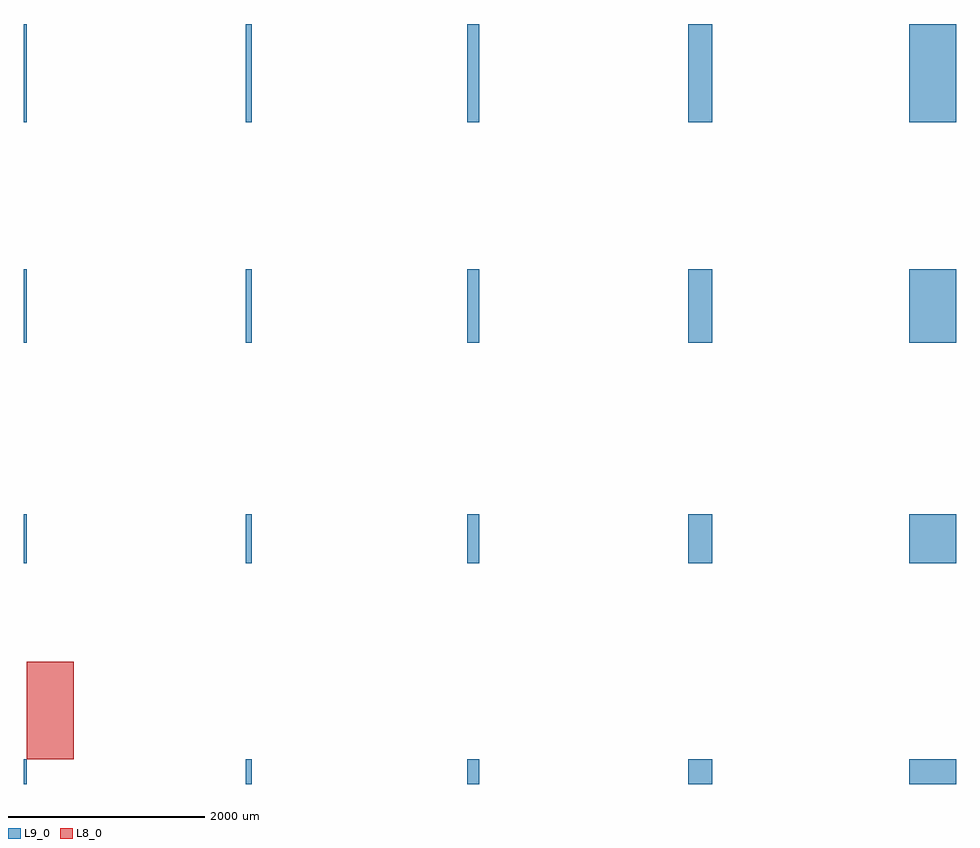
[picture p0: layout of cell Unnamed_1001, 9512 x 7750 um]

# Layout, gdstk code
import gdstk
lib = gdstk.Library(unit=1e-6, precision=1e-09)
def R(c, l, rs):  # rectangles x0, y0, x1, y1
    for r in rs: c.add(gdstk.rectangle(r[:2], r[2:], *l))
L8_0 = (8, 0)
L9_0 = (9, 0)

rectangle_s482_250_l9_0_ = lib.new_cell('rectangle_S482_250_L9_0_4f413a00')
R(rectangle_s482_250_l9_0_, L9_0, [(0,0,482,250)])

rectangle_s482_500_l9_0_ = lib.new_cell('rectangle_S482_500_L9_0_1a437853')
R(rectangle_s482_500_l9_0_, L9_0, [(0,0,482,500)])

rectangle_s62_250_l9_0__ = lib.new_cell('rectangle_S62_250_L9_0__b934522f')
R(rectangle_s62_250_l9_0__, L9_0, [(0,0,62,250)])

rectangle_s30_498_l8_0__ = lib.new_cell('rectangle_S30_498_L8_0__8be0d384')
R(rectangle_s30_498_l8_0__, L8_0, [(0,0,30,498)])

rectangle_s122_250_l9_0_ = lib.new_cell('rectangle_S122_250_L9_0_925dc8c7')
R(rectangle_s122_250_l9_0_, L9_0, [(0,0,122,250)])

rectangle_s30_496_l8_0__ = lib.new_cell('rectangle_S30_496_L8_0__2dacb0b5')
R(rectangle_s30_496_l8_0__, L8_0, [(0,0,30,496)])

rectangle_s30_492_l8_0__ = lib.new_cell('rectangle_S30_492_L8_0__69f82033')
R(rectangle_s30_492_l8_0__, L8_0, [(0,0,30,492)])

rectangle_s30_246_l8_0__ = lib.new_cell('rectangle_S30_246_L8_0__4ac8022f')
R(rectangle_s30_246_l8_0__, L8_0, [(0,0,30,246)])

rectangle_s62_1000_l9_0_ = lib.new_cell('rectangle_S62_1000_L9_0_8d7e5a74')
R(rectangle_s62_1000_l9_0_, L9_0, [(0,0,62,1000)])

rectangle_s30_998_l8_0__ = lib.new_cell('rectangle_S30_998_L8_0__dc77364f')
R(rectangle_s30_998_l8_0__, L8_0, [(0,0,30,998)])

rectangle_s242_250_l9_0_ = lib.new_cell('rectangle_S242_250_L9_0_62d8f9fe')
R(rectangle_s242_250_l9_0_, L9_0, [(0,0,242,250)])

rectangle_s30_746_l8_0__ = lib.new_cell('rectangle_S30_746_L8_0__16932186')
R(rectangle_s30_746_l8_0__, L8_0, [(0,0,30,746)])

rectangle_s30_742_l8_0__ = lib.new_cell('rectangle_S30_742_L8_0__b1090c77')
R(rectangle_s30_742_l8_0__, L8_0, [(0,0,30,742)])

rectangle_s30_248_l8_0__ = lib.new_cell('rectangle_S30_248_L8_0__6b0140fd')
R(rectangle_s30_248_l8_0__, L8_0, [(0,0,30,248)])

rectangle_s32_500_l9_0__ = lib.new_cell('rectangle_S32_500_L9_0__03d4ae10')
R(rectangle_s32_500_l9_0__, L9_0, [(0,0,32,500)])

rectangle_s122_500_l9_0_ = lib.new_cell('rectangle_S122_500_L9_0_ffbf6d70')
R(rectangle_s122_500_l9_0_, L9_0, [(0,0,122,500)])

rectangle_s30_734_l8_0__ = lib.new_cell('rectangle_S30_734_L8_0__5d0be103')
R(rectangle_s30_734_l8_0__, L8_0, [(0,0,30,734)])

rectangle_s30_484_l8_0__ = lib.new_cell('rectangle_S30_484_L8_0__f2229886')
R(rectangle_s30_484_l8_0__, L8_0, [(0,0,30,484)])

rectangle_s62_500_l9_0__ = lib.new_cell('rectangle_S62_500_L9_0__e5c27c60')
R(rectangle_s62_500_l9_0__, L9_0, [(0,0,62,500)])

rectangle_s30_996_l8_0__ = lib.new_cell('rectangle_S30_996_L8_0__71fbb211')
R(rectangle_s30_996_l8_0__, L8_0, [(0,0,30,996)])

rectangle_s30_748_l8_0__ = lib.new_cell('rectangle_S30_748_L8_0__2eb9ab58')
R(rectangle_s30_748_l8_0__, L8_0, [(0,0,30,748)])

rectangle_s62_750_l9_0__ = lib.new_cell('rectangle_S62_750_L9_0__490fc4e6')
R(rectangle_s62_750_l9_0__, L9_0, [(0,0,62,750)])

rectangle_s122_750_l9_0_ = lib.new_cell('rectangle_S122_750_L9_0_29948895')
R(rectangle_s122_750_l9_0_, L9_0, [(0,0,122,750)])

rectangle_s32_750_l9_0__ = lib.new_cell('rectangle_S32_750_L9_0__0753b927')
R(rectangle_s32_750_l9_0__, L9_0, [(0,0,32,750)])

rectangle_s30_242_l8_0__ = lib.new_cell('rectangle_S30_242_L8_0__f90f95f6')
R(rectangle_s30_242_l8_0__, L8_0, [(0,0,30,242)])

rectangle_s30_992_l8_0__ = lib.new_cell('rectangle_S30_992_L8_0__45c73a1c')
R(rectangle_s30_992_l8_0__, L8_0, [(0,0,30,992)])

rectangle_s30_234_l8_0__ = lib.new_cell('rectangle_S30_234_L8_0__2567a351')
R(rectangle_s30_234_l8_0__, L8_0, [(0,0,30,234)])

rectangle_s122_1000_l9__ = lib.new_cell('rectangle_S122_1000_L9__1de77251')
R(rectangle_s122_1000_l9__, L9_0, [(0,0,122,1000)])

rectangle_s482_750_l9_0_ = lib.new_cell('rectangle_S482_750_L9_0_bb1d3aa4')
R(rectangle_s482_750_l9_0_, L9_0, [(0,0,482,750)])

rectangle_s32_1000_l9_0_ = lib.new_cell('rectangle_S32_1000_L9_0_b59e78e6')
R(rectangle_s32_1000_l9_0_, L9_0, [(0,0,32,1000)])

rectangle_s242_500_l9_0_ = lib.new_cell('rectangle_S242_500_L9_0_704965d9')
R(rectangle_s242_500_l9_0_, L9_0, [(0,0,242,500)])

rectangle_s30_984_l8_0__ = lib.new_cell('rectangle_S30_984_L8_0__1ec71172')
R(rectangle_s30_984_l8_0__, L8_0, [(0,0,30,984)])

rectangle_s32_250_l9_0__ = lib.new_cell('rectangle_S32_250_L9_0__a2608acc')
R(rectangle_s32_250_l9_0__, L9_0, [(0,0,32,250)])

rectangle_s242_750_l9_0_ = lib.new_cell('rectangle_S242_750_L9_0_92145212')
R(rectangle_s242_750_l9_0_, L9_0, [(0,0,242,750)])

rectangle_s482_1000_l9__ = lib.new_cell('rectangle_S482_1000_L9__861ac93e')
R(rectangle_s482_1000_l9__, L9_0, [(0,0,482,1000)])

rectangle_s242_1000_l9__ = lib.new_cell('rectangle_S242_1000_L9__92d45bdb')
R(rectangle_s242_1000_l9__, L9_0, [(0,0,242,1000)])

unnamed_1001 = lib.new_cell('Unnamed_1001')
unnamed_1001.add(gdstk.Reference(rectangle_s482_250_l9_0_, (8998,-250)))
unnamed_1001.add(gdstk.Reference(rectangle_s482_500_l9_0_, (8998,2000)))
unnamed_1001.add(gdstk.Reference(rectangle_s62_250_l9_0__, (2234,-250)))
unnamed_1001.add(gdstk.Reference(rectangle_s30_498_l8_0__, (0,0)))
unnamed_1001.add(gdstk.Reference(rectangle_s30_498_l8_0__, (32,0)))
unnamed_1001.add(gdstk.Reference(rectangle_s30_498_l8_0__, (64,0)))
unnamed_1001.add(gdstk.Reference(rectangle_s30_498_l8_0__, (96,0)))
unnamed_1001.add(gdstk.Reference(rectangle_s30_498_l8_0__, (128,0)))
unnamed_1001.add(gdstk.Reference(rectangle_s30_498_l8_0__, (160,0)))
unnamed_1001.add(gdstk.Reference(rectangle_s30_498_l8_0__, (192,0)))
unnamed_1001.add(gdstk.Reference(rectangle_s30_498_l8_0__, (224,0)))
unnamed_1001.add(gdstk.Reference(rectangle_s30_498_l8_0__, (256,0)))
unnamed_1001.add(gdstk.Reference(rectangle_s30_498_l8_0__, (288,0)))
unnamed_1001.add(gdstk.Reference(rectangle_s30_498_l8_0__, (320,0)))
unnamed_1001.add(gdstk.Reference(rectangle_s30_498_l8_0__, (352,0)))
unnamed_1001.add(gdstk.Reference(rectangle_s30_498_l8_0__, (384,0)))
unnamed_1001.add(gdstk.Reference(rectangle_s30_498_l8_0__, (416,0)))
unnamed_1001.add(gdstk.Reference(rectangle_s30_498_l8_0__, (448,0)))
unnamed_1001.add(gdstk.Reference(rectangle_s122_250_l9_0_, (4492,-250)))
unnamed_1001.add(gdstk.Reference(rectangle_s30_496_l8_0__, (0,0)))
unnamed_1001.add(gdstk.Reference(rectangle_s30_496_l8_0__, (34,0)))
unnamed_1001.add(gdstk.Reference(rectangle_s30_496_l8_0__, (68,0)))
unnamed_1001.add(gdstk.Reference(rectangle_s30_496_l8_0__, (102,0)))
unnamed_1001.add(gdstk.Reference(rectangle_s30_496_l8_0__, (136,0)))
unnamed_1001.add(gdstk.Reference(rectangle_s30_496_l8_0__, (170,0)))
unnamed_1001.add(gdstk.Reference(rectangle_s30_496_l8_0__, (204,0)))
unnamed_1001.add(gdstk.Reference(rectangle_s30_492_l8_0__, (0,0)))
unnamed_1001.add(gdstk.Reference(rectangle_s30_492_l8_0__, (38,0)))
unnamed_1001.add(gdstk.Reference(rectangle_s30_492_l8_0__, (76,0)))
unnamed_1001.add(gdstk.Reference(rectangle_s30_246_l8_0__, (0,0)))
unnamed_1001.add(gdstk.Reference(rectangle_s30_246_l8_0__, (34,0)))
unnamed_1001.add(gdstk.Reference(rectangle_s30_246_l8_0__, (68,0)))
unnamed_1001.add(gdstk.Reference(rectangle_s30_246_l8_0__, (102,0)))
unnamed_1001.add(gdstk.Reference(rectangle_s30_246_l8_0__, (136,0)))
unnamed_1001.add(gdstk.Reference(rectangle_s30_246_l8_0__, (170,0)))
unnamed_1001.add(gdstk.Reference(rectangle_s30_246_l8_0__, (204,0)))
unnamed_1001.add(gdstk.Reference(rectangle_s62_1000_l9_0_, (2234,6500)))
unnamed_1001.add(gdstk.Reference(rectangle_s30_998_l8_0__, (0,0)))
unnamed_1001.add(gdstk.Reference(rectangle_s30_998_l8_0__, (32,0)))
unnamed_1001.add(gdstk.Reference(rectangle_s30_998_l8_0__, (64,0)))
unnamed_1001.add(gdstk.Reference(rectangle_s30_998_l8_0__, (96,0)))
unnamed_1001.add(gdstk.Reference(rectangle_s30_998_l8_0__, (128,0)))
unnamed_1001.add(gdstk.Reference(rectangle_s30_998_l8_0__, (160,0)))
unnamed_1001.add(gdstk.Reference(rectangle_s30_998_l8_0__, (192,0)))
unnamed_1001.add(gdstk.Reference(rectangle_s30_998_l8_0__, (224,0)))
unnamed_1001.add(gdstk.Reference(rectangle_s30_998_l8_0__, (256,0)))
unnamed_1001.add(gdstk.Reference(rectangle_s30_998_l8_0__, (288,0)))
unnamed_1001.add(gdstk.Reference(rectangle_s30_998_l8_0__, (320,0)))
unnamed_1001.add(gdstk.Reference(rectangle_s30_998_l8_0__, (352,0)))
unnamed_1001.add(gdstk.Reference(rectangle_s30_998_l8_0__, (384,0)))
unnamed_1001.add(gdstk.Reference(rectangle_s30_998_l8_0__, (416,0)))
unnamed_1001.add(gdstk.Reference(rectangle_s30_998_l8_0__, (448,0)))
unnamed_1001.add(gdstk.Reference(rectangle_s242_250_l9_0_, (6746,-250)))
unnamed_1001.add(gdstk.Reference(rectangle_s30_746_l8_0__, (0,0)))
unnamed_1001.add(gdstk.Reference(rectangle_s30_746_l8_0__, (34,0)))
unnamed_1001.add(gdstk.Reference(rectangle_s30_746_l8_0__, (68,0)))
unnamed_1001.add(gdstk.Reference(rectangle_s30_746_l8_0__, (102,0)))
unnamed_1001.add(gdstk.Reference(rectangle_s30_746_l8_0__, (136,0)))
unnamed_1001.add(gdstk.Reference(rectangle_s30_746_l8_0__, (170,0)))
unnamed_1001.add(gdstk.Reference(rectangle_s30_746_l8_0__, (204,0)))
unnamed_1001.add(gdstk.Reference(rectangle_s30_742_l8_0__, (0,0)))
unnamed_1001.add(gdstk.Reference(rectangle_s30_742_l8_0__, (38,0)))
unnamed_1001.add(gdstk.Reference(rectangle_s30_742_l8_0__, (76,0)))
unnamed_1001.add(gdstk.Reference(rectangle_s30_248_l8_0__, (0,0)))
unnamed_1001.add(gdstk.Reference(rectangle_s30_248_l8_0__, (32,0)))
unnamed_1001.add(gdstk.Reference(rectangle_s30_248_l8_0__, (64,0)))
unnamed_1001.add(gdstk.Reference(rectangle_s30_248_l8_0__, (96,0)))
unnamed_1001.add(gdstk.Reference(rectangle_s30_248_l8_0__, (128,0)))
unnamed_1001.add(gdstk.Reference(rectangle_s30_248_l8_0__, (160,0)))
unnamed_1001.add(gdstk.Reference(rectangle_s30_248_l8_0__, (192,0)))
unnamed_1001.add(gdstk.Reference(rectangle_s30_248_l8_0__, (224,0)))
unnamed_1001.add(gdstk.Reference(rectangle_s30_248_l8_0__, (256,0)))
unnamed_1001.add(gdstk.Reference(rectangle_s30_248_l8_0__, (288,0)))
unnamed_1001.add(gdstk.Reference(rectangle_s30_248_l8_0__, (320,0)))
unnamed_1001.add(gdstk.Reference(rectangle_s30_248_l8_0__, (352,0)))
unnamed_1001.add(gdstk.Reference(rectangle_s30_248_l8_0__, (384,0)))
unnamed_1001.add(gdstk.Reference(rectangle_s30_248_l8_0__, (416,0)))
unnamed_1001.add(gdstk.Reference(rectangle_s30_248_l8_0__, (448,0)))
unnamed_1001.add(gdstk.Reference(rectangle_s32_500_l9_0__, (-32,2000)))
unnamed_1001.add(gdstk.Reference(rectangle_s122_500_l9_0_, (4492,2000)))
unnamed_1001.add(gdstk.Reference(rectangle_s30_734_l8_0__, (0,0)))
unnamed_1001.add(gdstk.Reference(rectangle_s30_484_l8_0__, (0,0)))
unnamed_1001.add(gdstk.Reference(rectangle_s62_500_l9_0__, (2234,2000)))
unnamed_1001.add(gdstk.Reference(rectangle_s30_996_l8_0__, (0,0)))
unnamed_1001.add(gdstk.Reference(rectangle_s30_996_l8_0__, (34,0)))
unnamed_1001.add(gdstk.Reference(rectangle_s30_996_l8_0__, (68,0)))
unnamed_1001.add(gdstk.Reference(rectangle_s30_996_l8_0__, (102,0)))
unnamed_1001.add(gdstk.Reference(rectangle_s30_996_l8_0__, (136,0)))
unnamed_1001.add(gdstk.Reference(rectangle_s30_996_l8_0__, (170,0)))
unnamed_1001.add(gdstk.Reference(rectangle_s30_996_l8_0__, (204,0)))
unnamed_1001.add(gdstk.Reference(rectangle_s30_748_l8_0__, (0,0)))
unnamed_1001.add(gdstk.Reference(rectangle_s30_748_l8_0__, (32,0)))
unnamed_1001.add(gdstk.Reference(rectangle_s30_748_l8_0__, (64,0)))
unnamed_1001.add(gdstk.Reference(rectangle_s30_748_l8_0__, (96,0)))
unnamed_1001.add(gdstk.Reference(rectangle_s30_748_l8_0__, (128,0)))
unnamed_1001.add(gdstk.Reference(rectangle_s30_748_l8_0__, (160,0)))
unnamed_1001.add(gdstk.Reference(rectangle_s30_748_l8_0__, (192,0)))
unnamed_1001.add(gdstk.Reference(rectangle_s30_748_l8_0__, (224,0)))
unnamed_1001.add(gdstk.Reference(rectangle_s30_748_l8_0__, (256,0)))
unnamed_1001.add(gdstk.Reference(rectangle_s30_748_l8_0__, (288,0)))
unnamed_1001.add(gdstk.Reference(rectangle_s30_748_l8_0__, (320,0)))
unnamed_1001.add(gdstk.Reference(rectangle_s30_748_l8_0__, (352,0)))
unnamed_1001.add(gdstk.Reference(rectangle_s30_748_l8_0__, (384,0)))
unnamed_1001.add(gdstk.Reference(rectangle_s30_748_l8_0__, (416,0)))
unnamed_1001.add(gdstk.Reference(rectangle_s30_748_l8_0__, (448,0)))
unnamed_1001.add(gdstk.Reference(rectangle_s62_750_l9_0__, (2234,4250)))
unnamed_1001.add(gdstk.Reference(rectangle_s122_750_l9_0_, (4492,4250)))
unnamed_1001.add(gdstk.Reference(rectangle_s32_750_l9_0__, (-32,4250)))
unnamed_1001.add(gdstk.Reference(rectangle_s30_242_l8_0__, (0,0)))
unnamed_1001.add(gdstk.Reference(rectangle_s30_242_l8_0__, (38,0)))
unnamed_1001.add(gdstk.Reference(rectangle_s30_242_l8_0__, (76,0)))
unnamed_1001.add(gdstk.Reference(rectangle_s30_992_l8_0__, (0,0)))
unnamed_1001.add(gdstk.Reference(rectangle_s30_992_l8_0__, (38,0)))
unnamed_1001.add(gdstk.Reference(rectangle_s30_992_l8_0__, (76,0)))
unnamed_1001.add(gdstk.Reference(rectangle_s30_234_l8_0__, (0,0)))
unnamed_1001.add(gdstk.Reference(rectangle_s122_1000_l9__, (4492,6500)))
unnamed_1001.add(gdstk.Reference(rectangle_s482_750_l9_0_, (8998,4250)))
unnamed_1001.add(gdstk.Reference(rectangle_s32_1000_l9_0_, (-32,6500)))
unnamed_1001.add(gdstk.Reference(rectangle_s242_500_l9_0_, (6746,2000)))
unnamed_1001.add(gdstk.Reference(rectangle_s30_984_l8_0__, (0,0)))
unnamed_1001.add(gdstk.Reference(rectangle_s32_250_l9_0__, (-32,-250)))
unnamed_1001.add(gdstk.Reference(rectangle_s242_750_l9_0_, (6746,4250)))
unnamed_1001.add(gdstk.Reference(rectangle_s482_1000_l9__, (8998,6500)))
unnamed_1001.add(gdstk.Reference(rectangle_s242_1000_l9__, (6746,6500)))

lib.write_gds('Unnamed_1001.gds')
